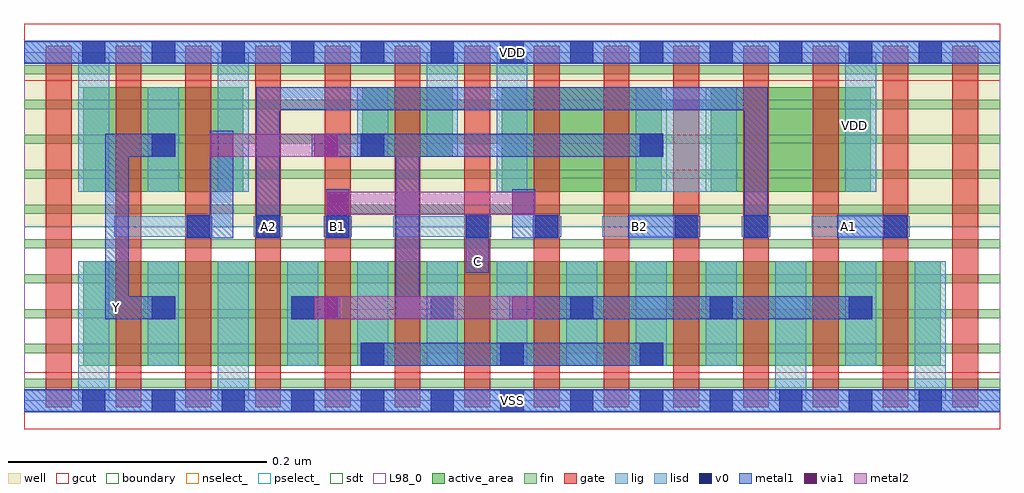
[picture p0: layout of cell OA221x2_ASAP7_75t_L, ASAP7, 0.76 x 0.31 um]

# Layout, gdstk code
import gdstk
lib = gdstk.Library(unit=1e-6, precision=2.5e-10)
def R(c, l, rs):  # rectangles x0, y0, x1, y1
    for r in rs: c.add(gdstk.rectangle(r[:2], r[2:], *l))
def A(c, l, x, y, w, h, nx, ny, dx, dy):  # array of equal rectangles
    R(c, l, [(x+i*dx, y+j*dy, x+i*dx+w, y+j*dy+h) for i in range(nx) for j in range(ny)])
def P(c, l, *ps):  # polygons
    for p in ps: c.add(gdstk.Polygon(p, *l))
well = (1, 0)
fin = (2, 0)
gate = (7, 0)
gcut = (10, 0)
active_area = (11, 0)
nselect_ = (12, 0)
pselect_ = (13, 0)
lig = (16, 0)
lisd = (17, 0)
v0 = (18, 0)
metal1 = (19, 0)
metal2 = (20, 0)
via1 = (21, 0)
sdt = (88, 0)
L98_0 = (98, 0)
boundary = (100, 0)

oa221x2_asap7_75t_l = lib.new_cell('OA221x2_ASAP7_75t_L')
R(oa221x2_asap7_75t_l, well, [(0,0.135,0.756,0.27)])
A(oa221x2_asap7_75t_l, fin, 0, 0.01, 0.756, 0.007, 1, 10, 0, 0.027)
A(oa221x2_asap7_75t_l, gate, 0.017, -0.005, 0.02, 0.28, 14, 1, 0.054, 0)
R(oa221x2_asap7_75t_l, gcut, [(0,-0.022,0.756,0.022), (0,0.248,0.756,0.292)])
R(oa221x2_asap7_75t_l, active_area, [(0.046,0.027,0.71,0.108), (0.046,0.162,0.17,0.243), (0.37,0.162,0.494,0.243), (0.532,0.162,0.656,0.243), (0.262,0.189,0.332,0.243)])
R(oa221x2_asap7_75t_l, nselect_, [(0,0,0.756,0.135)])
R(oa221x2_asap7_75t_l, pselect_, [(0,0.135,0.756,0.27)])
A(oa221x2_asap7_75t_l, lig, 0.232, 0.127, 0.022, 0.016, 3, 1, 0.162, 0)
A(oa221x2_asap7_75t_l, lig, 0.286, 0.127, 0.076, 0.016, 3, 1, 0.162, 0)
R(oa221x2_asap7_75t_l, lig, [(0,-0.008,0.756,0.008), (0.07,0.127,0.146,0.143), (0.178,0.127,0.2,0.143), (0,0.262,0.756,0.278)])
A(oa221x2_asap7_75t_l, lisd, 0.204, 0.027, 0.024, 0.081, 7, 1, 0.054, 0)
R(oa221x2_asap7_75t_l, lisd, [(0.042,0,0.066,0.108), (0.15,0,0.174,0.108), (0.582,0,0.606,0.108), (0.69,0,0.714,0.108), (0.096,0.027,0.12,0.108), (0.636,0.027,0.66,0.108), (0.042,0.162,0.066,0.27), (0.096,0.162,0.12,0.243), (0.15,0.162,0.174,0.27), (0.366,0.162,0.39,0.27), (0.474,0.162,0.552,0.243), (0.636,0.162,0.66,0.27), (0.258,0.189,0.282,0.243), (0.312,0.189,0.336,0.27)])
A(oa221x2_asap7_75t_l, v0, 0.045, -0.009, 0.018, 0.018, 13, 2, 0.054, 0.27)
A(oa221x2_asap7_75t_l, v0, 0.261, 0.027, 0.018, 0.018, 3, 1, 0.108, 0)
A(oa221x2_asap7_75t_l, v0, 0.099, 0.063, 0.018, 0.018, 6, 1, 0.108, 0)
A(oa221x2_asap7_75t_l, v0, 0.126, 0.126, 0.018, 0.018, 3, 1, 0.054, 0)
R(oa221x2_asap7_75t_l, v0, [(0.342,0.126,0.36,0.144), (0.396,0.126,0.414,0.144), (0.504,0.126,0.522,0.144), (0.558,0.126,0.576,0.144), (0.666,0.126,0.684,0.144), (0.099,0.189,0.117,0.207), (0.261,0.189,0.279,0.207), (0.477,0.189,0.495,0.207)])
R(oa221x2_asap7_75t_l, metal1, [(0,-0.009,0.756,0.009), (0.261,0.027,0.495,0.045), (0.207,0.063,0.245,0.081), (0.376,0.063,0.657,0.081), (0.342,0.099,0.36,0.144), (0.234,0.126,0.252,0.164), (0.468,0.126,0.522,0.144), (0.63,0.126,0.684,0.144), (0,0.261,0.756,0.279)])
P(oa221x2_asap7_75t_l, metal1, [(0.063,0.063),(0.063,0.207),(0.117,0.207),(0.117,0.189),(0.081,0.189),(0.081,0.081),(0.117,0.081),(0.117,0.063)],
  [(0.18,0.126),(0.18,0.243),(0.576,0.243),(0.576,0.126),(0.558,0.126),(0.558,0.225),(0.198,0.225),(0.198,0.126)],
  [(0.288,0.063),(0.288,0.189),(0.223,0.189),(0.223,0.207),(0.495,0.207),(0.495,0.189),(0.306,0.189),(0.306,0.081),(0.333,0.081),(0.333,0.063)],
  [(0.126,0.126),(0.126,0.144),(0.144,0.144),(0.144,0.209),(0.162,0.209),(0.162,0.126)],
  [(0.378,0.126),(0.378,0.164),(0.396,0.164),(0.396,0.144),(0.414,0.144),(0.414,0.126)])
R(oa221x2_asap7_75t_l, metal2, [(0.225,0.063,0.396,0.081), (0.234,0.144,0.396,0.162), (0.144,0.189,0.243,0.207)])
R(oa221x2_asap7_75t_l, via1, [(0.225,0.063,0.243,0.081), (0.378,0.063,0.396,0.081), (0.234,0.144,0.252,0.162), (0.378,0.144,0.396,0.162), (0.144,0.189,0.162,0.207), (0.225,0.189,0.243,0.207)])
A(oa221x2_asap7_75t_l, sdt, 0.042, 0.027, 0.024, 0.081, 13, 1, 0.054, 0)
A(oa221x2_asap7_75t_l, sdt, 0.042, 0.162, 0.024, 0.081, 3, 1, 0.054, 0)
R(oa221x2_asap7_75t_l, sdt, [(0.366,0.162,0.39,0.243), (0.474,0.162,0.498,0.243), (0.528,0.162,0.552,0.243), (0.636,0.162,0.66,0.243), (0.258,0.189,0.282,0.243), (0.312,0.189,0.336,0.243)])
R(oa221x2_asap7_75t_l, L98_0, [(0,0,0.756,0.27)])
R(oa221x2_asap7_75t_l, boundary, [(0,0,0.756,0.27)])
oa221x2_asap7_75t_l.add(gdstk.Label('Y', (0.072,0.072), layer=19, texttype=251))
oa221x2_asap7_75t_l.add(gdstk.Label('C', (0.351,0.108), layer=19, texttype=251))
oa221x2_asap7_75t_l.add(gdstk.Label('B2', (0.477,0.135), layer=19, texttype=251))
oa221x2_asap7_75t_l.add(gdstk.Label('B1', (0.243,0.135), layer=19, texttype=251))
oa221x2_asap7_75t_l.add(gdstk.Label('A2', (0.189,0.135), layer=19, texttype=251))
oa221x2_asap7_75t_l.add(gdstk.Label('A1', (0.639,0.135), layer=19, texttype=251))
oa221x2_asap7_75t_l.add(gdstk.Label('VSS', (0.378,0), layer=19, texttype=251))
oa221x2_asap7_75t_l.add(gdstk.Label('VDD', (0.378,0.27), layer=19, texttype=251))
oa221x2_asap7_75t_l.add(gdstk.Label('VDD', (0.643,0.213), layer=1, texttype=251))
oa221x2_asap7_75t_l.add(gdstk.Label('VSS', (0.869,0.213), layer=3, texttype=251))

lib.write_gds('OA221x2_ASAP7_75t_L.gds')
